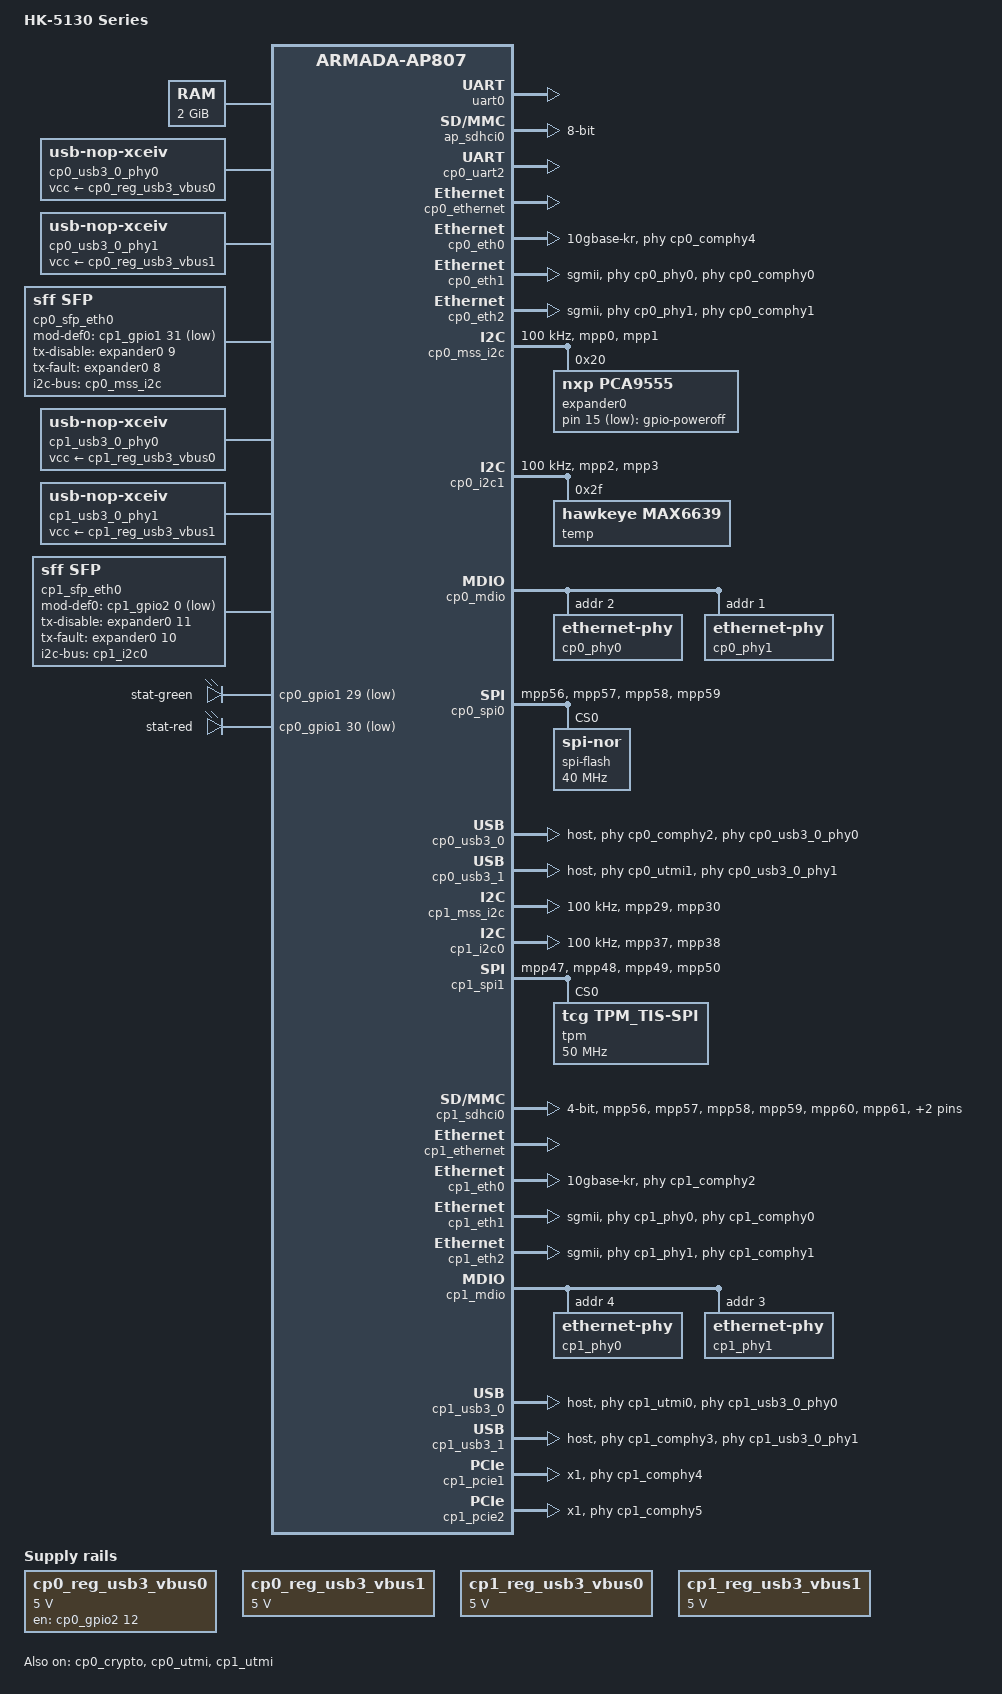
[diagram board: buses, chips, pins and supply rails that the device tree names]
// SPDX-License-Identifier: (GPL-2.0+ OR MIT)
/*
 * Copyright (C) 2019 Marvell International Ltd.
 *
 * Device tree for the HK-5130 board which referred to cn9130-db.dtsi.
 */

#include "cn9130.dtsi"

#include <dt-bindings/gpio/gpio.h>

/ {
	model = "HK-5130 Series";
	compatible = "hawkeye,hk-5130", "marvell,cn9131", "marvell,cn9130",
			"marvell,armada-ap807-quad", "marvell,armada-ap807";

	chosen {
		stdout-path = "serial0:115200n8";
	};

	aliases {
		serial0 = &uart0;
		serial1 = &cp0_uart2;
		gpio1 = &cp0_gpio1;
		gpio2 = &cp0_gpio2;
		gpio3 = &cp1_gpio1;
		gpio4 = &cp1_gpio2;
		i2c0 = &cp0_mss_i2c;
		i2c1 = &cp0_i2c1;
		i2c2 = &cp1_mss_i2c;
		i2c3 = &cp1_i2c0;
		ethernet0 = &cp0_eth1;
		ethernet1 = &cp0_eth2;
		ethernet2 = &cp1_eth1;
		ethernet3 = &cp1_eth2;
		ethernet4 = &cp0_eth0;
		ethernet5 = &cp1_eth0;
		spi0 = &cp0_spi0;
		spi1 = &cp1_spi1;
	};

	memory@0 {
		device_type = "memory";
		reg = <0x0 0x0 0x0 0x80000000>;
	};

	cp0_reg_usb3_vbus0: cp0_usb3_vbus@0 {
		compatible = "regulator-fixed";
		regulator-name = "cp0-xhci0-vbus";
		regulator-min-microvolt = <5000000>;
		regulator-max-microvolt = <5000000>;
		enable-active-high;
		gpio = <&cp0_gpio2 12 0>;
	};

	cp0_usb3_0_phy0: cp0_usb3_phy@0 {
		compatible = "usb-nop-xceiv";
		vcc-supply = <&cp0_reg_usb3_vbus0>;
	};

	cp0_reg_usb3_vbus1: cp0_usb3_vbus@1 {
		compatible = "regulator-fixed";
		regulator-name = "cp0-xhci1-vbus";
		regulator-min-microvolt = <5000000>;
		regulator-max-microvolt = <5000000>;
		enable-active-high;
	};

	cp0_usb3_0_phy1: cp0_usb3_phy@1 {
		compatible = "usb-nop-xceiv";
		vcc-supply = <&cp0_reg_usb3_vbus1>;
	};

	cp0_sfp_eth0: cp0-sfp-eth0 {
		compatible = "sff,sfp";
		i2c-bus = <&cp0_mss_i2c>;
		mod-def0-gpio = <&cp1_gpio1 31 GPIO_ACTIVE_LOW>;
		tx-disable-gpio = <&expander0 9 GPIO_ACTIVE_HIGH>;
		tx-fault-gpio = <&expander0 8 GPIO_ACTIVE_HIGH>;
		pinctrl-names = "default";
		pinctrl-0 = <&cp1_sfp0_pins>;
		maximum-power-milliwatt = <2000>;
		status = "okay";
	};

	cp1_reg_usb3_vbus0: cp1_usb3_vbus@0 {
		compatible = "regulator-fixed";
		regulator-name = "cp1-xhci0-vbus";
		regulator-min-microvolt = <5000000>;
		regulator-max-microvolt = <5000000>;
		enable-active-high;
	};

	cp1_usb3_0_phy0: cp1_usb3_phy@0 {
		compatible = "usb-nop-xceiv";
		vcc-supply = <&cp1_reg_usb3_vbus0>;
	};

	cp1_reg_usb3_vbus1: cp1_usb3_vbus@1 {
		compatible = "regulator-fixed";
		regulator-name = "cp1-xhci1-vbus";
		regulator-min-microvolt = <5000000>;
		regulator-max-microvolt = <5000000>;
		enable-active-high;
	};

	cp1_usb3_0_phy1: cp1_usb3_phy@1 {
		compatible = "usb-nop-xceiv";
		vcc-supply = <&cp1_reg_usb3_vbus1>;
	};

	cp1_sfp_eth0: cp1-sfp-eth0 {
		compatible = "sff,sfp";
		i2c-bus = <&cp1_i2c0>;
		mod-def0-gpio = <&cp1_gpio2 0 GPIO_ACTIVE_LOW>;
		tx-disable-gpio = <&expander0 11 GPIO_ACTIVE_HIGH>;
		tx-fault-gpio = <&expander0 10 GPIO_ACTIVE_HIGH>;
		pinctrl-names = "default";
		pinctrl-0 = <&cp1_sfp1_pins>;
		maximum-power-milliwatt = <2000>;
		status = "okay";
	};

	irq-buttons {
		compatible = "hawkeye,irq-buttons";
		btn1 {
			interrupt-parent = <&cp0_gpio2>;
			interrupts = <23 IRQ_TYPE_EDGE_RISING>;
		};
		btn2 {
			interrupt-parent = <&cp0_gpio2>;
			interrupts = <22 IRQ_TYPE_EDGE_RISING>;
		};
	};

	gpio-poweroff {
		compatible = "gpio-poweroff";
		gpios = <&expander0 15 1>;
		force;
	};

	gpio-leds {
		compatible = "gpio-leds";
		stat-green {
			gpios = <&cp0_gpio1 29 GPIO_ACTIVE_LOW>;
			default-state = "on";
		};
		stat-red {
			gpios = <&cp0_gpio1 30 GPIO_ACTIVE_LOW>;
			default-state = "off";
		};
	};
};

&uart0 {
	status = "okay";
};

/* on-board eMMC */
&ap_sdhci0 {
	pinctrl-names = "default";
	bus-width = <8>;
	mmc-ddr-1_8v;
	mmc-hs400-1_8v;
	status = "okay";
};

&cp0_uart2 {
	status = "okay";
};

&cp0_crypto {
	status = "okay";
};

&cp0_ethernet {
	status = "okay";
};

&cp0_eth0 {
	status = "okay";
	managed = "in-band-status";
	phy-mode = "10gbase-kr";
	phys = <&cp0_comphy4 0>;
	sfp = <&cp0_sfp_eth0>;
};

&cp0_eth1 {
	status = "okay";
	managed = "in-band-status";
	phy = <&cp0_phy0>;
	phy-mode = "sgmii";
	phys = <&cp0_comphy0 1>;
};

&cp0_eth2 {
	status = "okay";
	managed = "in-band-status";
	phy = <&cp0_phy1>;
	phy-mode = "sgmii";
	phys = <&cp0_comphy1 2>;
};

&cp0_gpio1 {
	status = "okay";
};

&cp0_gpio2 {
	status = "okay";
};

&cp0_mss_i2c {
	pinctrl-names = "default";
	pinctrl-0 = <&cp0_mss_i2c_pins>;
	status = "okay";
	clock-frequency = <100000>;

	expander0: pca953x@20 {
		compatible = "nxp,pca9555";
		gpio-controller;
		#gpio-cells = <2>;
		reg = <0x20>;
		status = "okay";
	};

};

&cp0_i2c1 {
	pinctrl-names = "default";
	pinctrl-0 = <&cp0_i2c1_pins>;
	status = "okay";
	clock-frequency = <100000>;

	temp@2f {
		compatible = "hawkeye,max6639";
		reg = <0x2f>;
		skip-init;
	};
};

&cp0_mdio {
	status = "okay";

	cp0_phy0: ethernet-phy@2 {
		reg = <2>;
	};

	cp0_phy1: ethernet-phy@1 {
		reg = <1>;
	};
};


&cp0_spi0 {
	status = "okay";
	pinctrl-names = "default";
	pinctrl-0 = <&cp0_spi0_pins>;

	spi-flash@0 {
		#address-cells = <0x1>;
		#size-cells = <0x1>;
		compatible = "jedec,spi-nor";
		reg = <0x0>;
		/* On-board MUX does not allow higher frequencies */
		spi-max-frequency = <40000000>;

	};
};

&cp0_pinctrl {
	compatible = "marvell,cp115-standalone-pinctrl";

	cp0_mss_i2c_pins: cp0-i2c-pins-0 {
		marvell,pins = "mpp0", "mpp1";
		marvell,function = "mss_i2c";
	};
	cp0_i2c1_pins: cp0-i2c-pins-1 {
		marvell,pins = "mpp2", "mpp3";
		marvell,function = "i2c1";
	};
	cp0_spi0_pins: cp0-spi-pins-0 {
		marvell,pins = "mpp56", "mpp57", "mpp58", "mpp59";
		marvell,function = "spi0";
	};
};

&cp0_utmi {
	status = "okay";
};

&cp0_usb3_0 {
	status = "okay";
	usb-phy = <&cp0_usb3_0_phy0>;
	phys = <&cp0_comphy2 0>, <&cp0_utmi0>;
	phy-names = "usb3", "utmi";
	dr_mode = "host";
};

&cp0_usb3_1 {
	status = "okay";
	usb-phy = <&cp0_usb3_0_phy1>;
	phys =  <&cp0_utmi1>;
	phy-names = "utmi";
	dr_mode = "host";
};


/*
 * Instantiate the first slave CP115 on MCi1
 */

#define CP11X_NAME              cp1
#define CP11X_NUM               1
#define CP11X_BASE              f6000000
#define CP11X_PCIEx_MEM_BASE(iface) (0xe5000000 + (iface * 0x1000000))
#define CP11X_PCIEx_MEM_SIZE(iface) 0xf00000
#define CP11X_PCIE0_BASE        f6600000
#define CP11X_PCIE1_BASE        f6620000
#define CP11X_PCIE2_BASE        f6640000

#include "armada-cp115.dtsi"

#undef CP11X_NAME
#undef CP11X_NUM
#undef CP11X_BASE
#undef CP11X_PCIEx_MEM_BASE
#undef CP11X_PCIEx_MEM_SIZE
#undef CP11X_PCIE0_BASE
#undef CP11X_PCIE1_BASE
#undef CP11X_PCIE2_BASE

&cp1_pinctrl {
	compatible = "marvell,cp115-standalone-pinctrl";

	cp1_mss_i2c_pins: cp1-i2c-pins-0 {
		marvell,pins = "mpp29", "mpp30";
		marvell,function = "mss_i2c";
	};
	cp1_i2c0_pins: cp1-i2c-pins-1 {
		marvell,pins = "mpp37", "mpp38";
		marvell,function = "i2c0";
	};
	cp1_spi1_pins: cp1-spi-pins-0 {
		marvell,pins = "mpp47", "mpp48", "mpp49", "mpp50";
		marvell,function = "spi1";
	};
	cp1_sdhci_cd_pins: cp1-sdhci-cd-pins-0 {
		marvell,pins = "mpp55";
		marvell,function = "sdio";
	};
	cp1_sdhci_pins: cp1-sdhci-pins-0 {
		marvell,pins = "mpp56", "mpp57", "mpp58", "mpp59",
				"mpp60", "mpp61";
		marvell,function = "sdio";
	};
	cp1_sfp0_pins: cp1-sfp-pins-0 {
		marvell,pins = "mpp31";
		marvell,function = "gpio";
	};
	cp1_sfp1_pins: cp1-sfp-pins-1 {
		marvell,pins = "mpp32";
		marvell,function = "gpio";
	};
};

&cp1_mss_i2c {
	pinctrl-names = "default";
	pinctrl-0 = <&cp1_mss_i2c_pins>;
	status = "okay";
	clock-frequency = <100000>;
};

&cp1_i2c0 {
	pinctrl-names = "default";
	pinctrl-0 = <&cp1_i2c0_pins>;
	status = "okay";
	clock-frequency = <100000>;
};

&cp1_spi1 {
	status = "okay";
	pinctrl-names = "default";
	pinctrl-0 = <&cp1_spi1_pins>;

	tpm: npct75x@0 {
		compatible = "tcg,tpm_tis-spi";
		spi-max-frequency = <50000000>;
		reg = <0>;
	};
};

&cp1_crypto {
	/*
	 * The cryptographic engine found on the cp110
	 * master is enabled by default at the SoC
	 * level. Because it is not possible as of now
	 * to enable two cryptographic engines in
	 * parallel, disable this one by default.
	 */
	status = "disabled";
};

&cp1_gpio1 {
	status = "okay";
};

&cp1_gpio2 {
	status = "okay";
};

&cp1_sdhci0 {
	pinctrl-names = "default";
	pinctrl-0 = <&cp1_sdhci_pins &cp1_sdhci_cd_pins>;
	bus-width = <4>;
	cd-gpios = <&cp1_gpio2 23 GPIO_ACTIVE_LOW>;
	no-1-8-v;
	status = "okay";
};

&cp1_ethernet {
	status = "okay";
};

&cp1_eth0 {
	status = "okay";
	managed = "in-band-status";
	phy-mode = "10gbase-kr";
	phys = <&cp1_comphy2 0>;
	sfp = <&cp1_sfp_eth0>;
};

&cp1_eth1 {
	status = "okay";
	managed = "in-band-status";
	phy = <&cp1_phy0>;
	phy-mode = "sgmii";
	phys = <&cp1_comphy0 1>;
};

&cp1_eth2 {
	status = "okay";
	managed = "in-band-status";
	phy = <&cp1_phy1>;
	phy-mode = "sgmii";
	phys = <&cp1_comphy1 2>;
};

&cp1_mdio {
	status = "okay";

	cp1_phy0: ethernet-phy@4 {
		reg = <4>;
	};

	cp1_phy1: ethernet-phy@3 {
		reg = <3>;
	};
};

&cp1_utmi {
	status = "okay";
};

&cp1_usb3_0 {
	status = "okay";
	usb-phy = <&cp1_usb3_0_phy0>;
	phys = <&cp1_utmi0>;
	phy-names = "utmi";
	dr_mode = "host";
};

&cp1_usb3_1 {
	status = "okay";
	usb-phy = <&cp1_usb3_0_phy1>;
	phys =  <&cp1_comphy3 1>, <&cp1_utmi1>;
	phy-names = "usb3", "utmi";
	dr_mode = "host";
};

&cp1_pcie1 {
	num-lanes = <1>;
	phys = <&cp1_comphy4 1>;
	status = "okay";
};

&cp1_pcie2 {
	num-lanes = <1>;
	phys = <&cp1_comphy5 2>;
	status = "okay";
};
